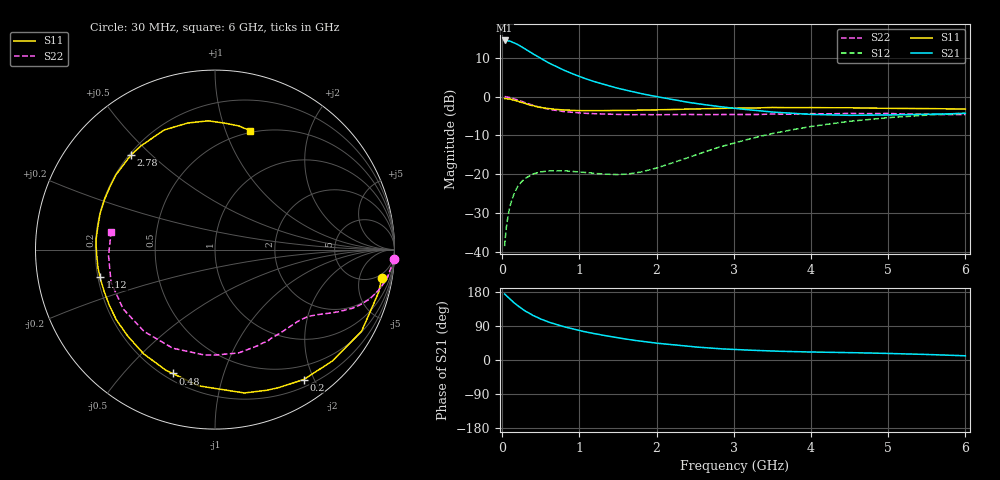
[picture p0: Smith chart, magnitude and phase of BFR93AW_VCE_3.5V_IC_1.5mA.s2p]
! Infineon Technologies  Discrete & RF Semiconductors
! BFR93AW
! VCE =  3.5 V,  IC =  1.5 mA
! Common Emitter S-Parameters:  Nov 2015
# GHz  S  MA  R  50
!  f  S11  S21  S12  S22
! GHz  MAG  ANG  MAG  ANG  MAG  ANG  MAG  ANG
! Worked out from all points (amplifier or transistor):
!   206 points, 30 MHz to 6 GHz, reference 50 ohm
!   highest |S21| = 14.4 dB at 30 MHz (marker M1)
!   |S21| within 3 dB of that: start of sweep to 361.8 MHz
!   unconditionally stable (mu >= 1): 1.296 GHz to 2.384 GHz; 5.656 GHz to end of sweep
!   at 200 MHz: K = 0.14, MSG = 18.2 dB, |S12| = -23.1 dB
!   at 1.56 GHz: K = 1.17, MAG = 8.4 dB, |S12| = -20.0 dB
!   at 6 GHz: K = 1.01, MAG = -0.6 dB, |S12| = -4.2 dB
!   S11 on the Smith chart (normalised r, x): 30 MHz: 4, -10; 200 MHz: 0.30, -1.86; 480 MHz: 0.23, -0.69; 1.12 GHz: 0.21, -0.11; 2.78 GHz: 0.21, +0.43; 6 GHz: 0.48, +1.22
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0.03  0.9413 -9.7  5.25 174.3  0.012 83.0  1 -3.1
0.055  0.9388 -16.0  5.219 169.3  0.0218 79.8  0.9873 -5.4
0.1  0.9349 -29.1  5.149 160.8  0.0391 74.4  0.9716 -9.7
0.15  0.9019 -43.5  4.918 151.4  0.0556 66.4  0.9389 -14.0
0.2  0.8763 -55.7  4.651 143.3  0.0702 59.7  0.9056 -17.6
0.24  0.8469 -65.2  4.41 137.1  0.0786 54.8  0.8747 -20.1
0.3  0.8154 -78.4  4.073 128.8  0.0893 48.5  0.8326 -23.1
0.4  0.7647 -96.8  3.526 117.3  0.1016 41.2  0.7708 -26.7
0.48  0.7293 -108.9  3.168 110.0  0.1067 36.7  0.7315 -28.9
0.5  0.7259 -112.1  3.088 107.9  0.1081 35.6  0.7218 -29.5
0.6  0.7037 -124.4  2.709 100.1  0.1109 31.8  0.6877 -31.6
0.7  0.6847 -135.1  2.425 93.7  0.1118 29.1  0.6625 -33.5
0.88  0.6669 -150.4  2.016 83.5  0.1101 27.2  0.6303 -37.0
1.04  0.6587 -161.6  1.751 75.9  0.1069 27.6  0.6127 -40.4
1.12  0.6587 -166.5  1.644 72.4  0.1052 28.6  0.6062 -42.4
1.5  0.6647 174.8  1.276 58.6  0.0996 39.9  0.5912 -51.5
2.02  0.6766 154.6  0.99 44.0  0.1228 61.2  0.5858 -66.3
2.78  0.7043 131.5  0.751 30.2  0.2195 71.5  0.5879 -89.6
3.1  0.7101 122.9  0.69 26.8  0.2683 69.4  0.5871 -99.5
4.1  0.7194 100.3  0.587 20.8  0.4259 55.6  0.6007 -134.1
5.1  0.7048 84.2  0.582 16.8  0.5434 38.9  0.6016 -165.3
6  0.6912 73.5  0.608 11.1  0.6131 25.7  0.5866 170.3
